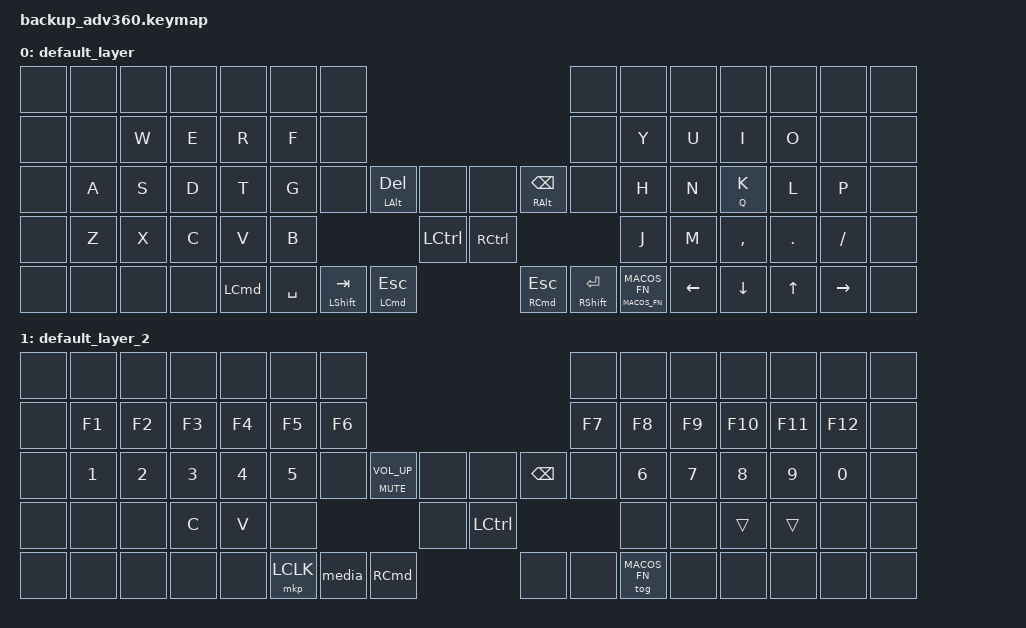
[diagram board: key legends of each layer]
/*
 * Copyright (c) 2020 The ZMK Contributors
 * SPDX-License-Identifier: MIT
 */

#include <behaviors.dtsi>
#include <dt-bindings/zmk/keys.h>
#include <dt-bindings/zmk/mouse.h>

/*
 * README
 *
 * The fallowing keymap layer naming schema is proposed for better readability:
 ** Layers 'default_layer' and 'default_layer_<2..n>' are reserved layer namespaces for MacOS.
 ** Layers 'windows_layer' and 'windows_layer_<2..n>' are reserved layer namespaces for Windows.
 ** Additional operating systems should fallow the same naming schema.
 *
 * Define names for your layers, for convenient referencing inside of keymap bindings.
 * Use ZMK keycodes, macros, your layer names .. etc, to adjust the layer bindings to your liking.
 *
 * Run 'make clean && make all' to generate the firmware.
 * Use a paperclip to push the bootloader buttons on the Advantage360, begin with the left side.
 * Flash the firmware, then continue with the right side of the keyboard.
 * Form more information read the manual: https://kinesis-ergo.com/wp-content/uploads/Advantage360-ZMK-KB360-PRO-Users-Manual-v3-10-23.pdf
 *
 * NOTES
 *
 * To register custom key codes: https://github.com/zmkfirmware/zmk/issues/947#issuecomment-1728583763
 */

#define MACOS 0
#define MACOS_FN 1

&mt {
    tapping-term-ms = <180>;
    quick-tap-ms = <180>;
};

/ {
    behaviors {
        #include "version.dtsi"

        ht: behavior_hold_tap {
            compatible = "zmk,behavior-hold-tap";
            #binding-cells = <2>;
            bindings = <&kp>, <&kp>;
            tapping-term-ms = <160>;
            quick-tap-ms = <125>;
            flavor = "tap-preferred";
        };

        layer: behavior_layer_toggle {
            compatible = "zmk,behavior-hold-tap";
            #binding-cells = <2>;
            bindings = <&mo>, <&tog>;
            tapping-term-ms = <175>;
            flavor = "hold-preferred";
        };

        media: macro_media_playback_controls {
            compatible = "zmk,behavior-tap-dance";
            #binding-cells = <0>;
            bindings = <&kp C_PLAY_PAUSE>, <&kp C_NEXT>, <&kp C_PREV>;
            tapping-term-ms = <225>;
        };

        squote: macro_single_quotes {
            compatible = "zmk,behavior-macro";
            #binding-cells = <0>;
            bindings = <&kp SQT>, <&kp SQT>, <&kp LEFT>;
        };

        dquote: macro_double_quotes {
            compatible = "zmk,behavior-macro";
            #binding-cells = <0>;
            bindings = <&kp DQT>, <&kp DQT>, <&kp LEFT>;
        };

        rbrace: macro_round_brakets {
            compatible = "zmk,behavior-macro";
            #binding-cells = <0>;
            bindings = <&kp LPAR>, <&kp RPAR>, <&kp LEFT>;
        };

        sbrace: macro_square_brackets {
            compatible = "zmk,behavior-macro";
            #binding-cells = <0>;
            bindings = <&kp LBKT>, <&kp RBKT>, <&kp LEFT>;
        };

        cbrace: macro_curly_brackets {
            compatible = "zmk,behavior-macro";
            #binding-cells = <0>;
            bindings = <&kp LBRC>, <&kp RBRC>, <&kp LEFT>;
        };
    };

    keymap {
        compatible = "zmk,keymap";

        default_layer {
            bindings = <
                &none        &none        &none        &none        &none           &none        &none                                                                                                                                                &none        &none        &none           &none            &none          &none            &none
                &none        &none        &kp W        &kp E        &kp R           &kp F        &none                                                                                                                                                &none        &kp Y        &kp U           &kp I            &kp O          &none            &none
                &none        &kp A        &kp S        &kp D        &kp T           &kp G        &none                      &mt LALT DELETE        &none               &none               &mt RALT BACKSPACE                                         &none        &kp H        &kp N           &ht Q K          &kp L          &kp P            &none
                &none        &kp Z        &kp X        &kp C        &kp V           &kp B                                                          &kp LCTRL           &kp RCTRL                                                                                   &kp J        &kp M           &kp COMMA        &kp DOT        &kp SLASH        &none
                &none        &none        &none        &none        &kp LCMD                                  &kp SPACE     &mt LSHIFT TAB         &mt LCMD ESC        &mt RCMD ESC        &mt RSHIFT RETURN        &layer MACOS_FN MACOS_FN                                    &kp LEFT        &kp DOWN         &kp UP         &kp RIGHT        &none
            >;
        };

        default_layer_2 {
            bindings = <
                &none        &none               &none               &none              &none               &none               &none                                                                                                                      &none         &none               &none               &none               &none               &none               &none
                &none        &kp F1              &kp F2              &kp F3             &kp F4              &kp F5              &kp F6                                                                                                                     &kp F7        &kp F8              &kp F9              &kp F10             &kp F11             &kp F12             &none
                &none        &kp NUMBER_1        &kp NUMBER_2        &kp NUMBER_3       &kp NUMBER_4        &kp NUMBER_5        &none                          &ht C_MUTE C_VOL_UP             &none        &none        &kp BACKSPACE                     &none         &kp NUMBER_6        &kp NUMBER_7        &kp NUMBER_8        &kp NUMBER_9        &kp NUMBER_0        &none
                &none        &none               &none               &kp C              &kp V               &none                                                                              &none        &kp LCTRL                                                    &none               &none               &trans              &trans              &none               &none
                &none        &none               &none               &none              &none                                                 &mkp LCLK        &media                          &kp RCMD     &none        &none        &tog MACOS_FN                                          &none               &none               &none               &none               &none
            >;
        };
    };
};
